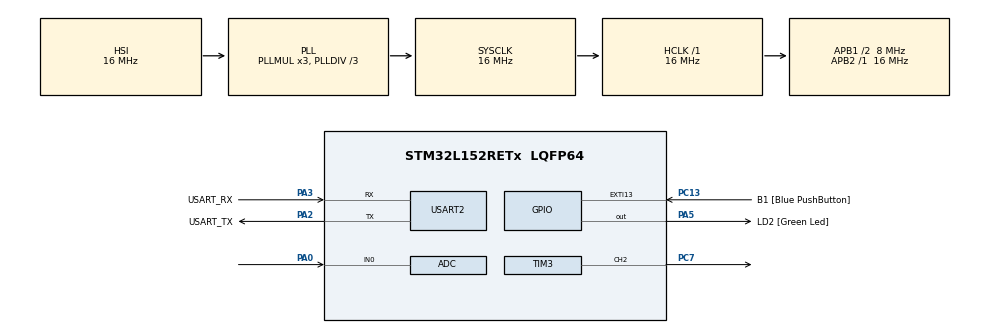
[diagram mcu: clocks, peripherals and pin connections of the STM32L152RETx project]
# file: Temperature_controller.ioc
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ADC.Channel-0\#ChannelRegularConversion=ADC_CHANNEL_0
ADC.InjNumberOfConversion=0
ADC.NbrOfConversionFlag=1
ADC.Rank-0\#ChannelRegularConversion=1
ADC.SamplingTime-0\#ChannelRegularConversion=ADC_SAMPLETIME_4CYCLES
Mcu.Family=STM32L1
Mcu.Name=STM32L152RETx
Mcu.Package=LQFP64
NVIC.PriorityGroup=NVIC_PRIORITYGROUP_0
NVIC.TIM2_IRQn=true\:0\:0\:false\:false\:true\:true\:true\:true
PA0-WKUP1.Mode=IN0
PA0-WKUP1.Signal=ADC_IN0
PA13.GPIO_Label=TMS
PA13.Mode=Serial_Wire
PA13.Signal=SYS_JTMS-SWDIO
PA14.GPIO_Label=TCK
PA14.Mode=Serial_Wire
PA14.Signal=SYS_JTCK-SWCLK
PA2.GPIO_Label=USART_TX
PA2.Mode=Asynchronous
PA2.Signal=USART2_TX
PA3.GPIO_Label=USART_RX
PA3.Mode=Asynchronous
PA3.Signal=USART2_RX
PA5.GPIO_Label=LD2 [Green Led]
PA5.Signal=GPIO_Output
PB3.GPIO_Label=SWO
PB3.Signal=SYS_JTDO-TRACESWO
PC13-WKUP2.GPIO_Label=B1 [Blue PushButton]
PC13-WKUP2.Signal=GPXTI13
PC14-OSC32_IN.Mode=LSE-External-Oscillator
PC14-OSC32_IN.Signal=RCC_OSC32_IN
PC15-OSC32_OUT.Mode=LSE-External-Oscillator
PC15-OSC32_OUT.Signal=RCC_OSC32_OUT
PC7.Signal=S_TIM3_CH2
PH0-OSC_IN.Mode=HSE-External-Clock-Source
PH0-OSC_IN.Signal=RCC_OSC_IN
PH1-OSC_OUT.Signal=RCC_OSC_OUT
ProjectManager.HeapSize=0x200
ProjectManager.StackSize=0x400
ProjectManager.TargetToolchain=STM32CubeIDE
RCC.48MHZClocksFreq_Value=24000000
RCC.AHBFreq_Value=16000000
RCC.APB1CLKDivider=RCC_HCLK_DIV2
RCC.APB1Freq_Value=8000000
RCC.APB1TimFreq_Value=16000000
RCC.APB2Freq_Value=16000000
RCC.APB2TimFreq_Value=16000000
RCC.HCLKFreq_Value=16000000
RCC.HSE_VALUE=8000000
RCC.HSI_VALUE=16000000
RCC.MSI_VALUE=2097000
RCC.PLLDIV=RCC_PLL_DIV3
RCC.RTCClockSelectionVirtual=RCC_RTCCLKSOURCE_LSE
RCC.SYSCLKFreq_VALUE=16000000
RCC.SYSCLKSource=RCC_SYSCLKSOURCE_PLLCLK
RCC.USBOutput=48000000
RCC.VCOOutputFreq_Value=48000000
SH.S_TIM3_CH2.0=TIM3_CH2,PWM Generation2 CH2
TIM2.AutoReloadPreload=TIM_AUTORELOAD_PRELOAD_ENABLE
TIM2.Channel-Output\ Compare1\ No\ Output=TIM_CHANNEL_1
TIM2.Period=10000-1
TIM2.Prescaler=1600-1
TIM3.AutoReloadPreload=TIM_AUTORELOAD_PRELOAD_ENABLE
TIM3.Channel-PWM\ Generation2\ CH2=TIM_CHANNEL_2
TIM3.Period=1000-1
TIM3.Prescaler=16-1
USART2.VirtualMode=VM_ASYNC
VP_TIM2_VS_ClockSourceINT.Mode=Internal
VP_TIM2_VS_no_output1.Mode=Output Compare1 No Output
VP_TIM3_VS_ClockSourceINT.Mode=Internal
board=NUCLEO-L152RE

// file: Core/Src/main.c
/* USER CODE BEGIN Header */
/**
 ******************************************************************************
 * @file           : main.c
 * @brief          : Main program body
 ******************************************************************************
 * @attention
 *
 * <h2><center>&copy; Copyright (c) 2024 STMicroelectronics.
 * All rights reserved.</center></h2>
 *
 * This software component is licensed by ST under BSD 3-Clause license,
 * the "License"; You may not use this file except in compliance with the
 * License. You may obtain a copy of the License at:
 *                        opensource.org/licenses/BSD-3-Clause
 *
 ******************************************************************************
 */
/* USER CODE END Header */
#include "main.h"

/* USER CODE BEGIN PD */
#define PLMAX 2048		// Proportional Limit Max
#define OLMAX 1000		// Output PWM Limit Max

#define DELAYTAPS 22

#define ADC_MIN 288      // Minimum ADC value allowed
#define ADC_MAX 3456     // Maximum ADC value allowed
#define DECIMATION 5     // Bit shift for dividing by 32 (2^5)
#define LOOKUP_SIZE 100  // Size of lookup table
/* USER CODE END PD */

/* USER CODE BEGIN PM */

//int32_t Tlook[3010] = { // 294815     ---2996
//		293237,293361,293485,293608,293731,	293853,	293975,	294096,	294217,	294338,	294458,	294577,	294697,
//		294815, 294933, 295051, 295169, 295285, 295402, 295518, 295634, 295749, 295864, 295978, 296092, 296206,
//		296319, 296431, 296544, 296656, 296767, 296879, 296990, 297100, 297210, 297320, 297429, 297538, 297647,
//		297755, 297863, 297971, 298078, 298185, 298291, 298398, 298503, 298609, 298714, 298819, 298923, 299028,
//		299132, 299235, 299338, 299441, 299544, 299646, 299748, 299850, 299951, 300052, 300153, 300253, 300354,
//		300454, 300553, 300652, 300751, 300850, 300949, 301047, 301145, 301242, 301340, 301437, 301533, 301630,
//		301726, 301822, 301918, 302013, 302109, 302204, 302298, 302393, 302487, 302581, 302674, 302768, 302861,
//		302954, 303047, 303139, 303231, 303323, 303415, 303507, 303598, 303689, 303780, 303870, 303961, 304051,
//		304141, 304230, 304320, 304409, 304498, 304587, 304675, 304764, 304852, 304940, 305027, 305115, 305202,
//		305289, 305376, 305463, 305549, 305636, 305722, 305808, 305893, 305979, 306064, 306149, 306234, 306319,
//		306403, 306488, 306572, 306656, 306739, 306823, 306906, 306990, 307073, 307155, 307238, 307321, 307403,
//		307485, 307567, 307649, 307730, 307812, 307893, 307974, 308055, 308136, 308216, 308296, 308377, 308457,
//		308537, 308616, 308696, 308775, 308854, 308934, 309012, 309091, 309170, 309248, 309327, 309405, 309483,
//		309560, 309638, 309716, 309793, 309870, 309947, 310024, 310101, 310177, 310254, 310330, 310406, 310482,
//		310558, 310634, 310710, 310785, 310860, 310935, 311010, 311085, 311160, 311235, 311309, 311384, 311458,
//		311532, 311606, 311679, 311753, 311827, 311900, 311973, 312046, 312119, 312192, 312265, 312338, 312410,
//		312483, 312555, 312627, 312699, 312771, 312842, 312914, 312986, 313057, 313128, 313199, 313270, 313341,
//		313412, 313483, 313553, 313624, 313694, 313764, 313834, 313904, 313974, 314044, 314113, 314183, 314252,
//		314321, 314390, 314459, 314528, 314597, 314666, 314734, 314803, 314871, 314940, 315008, 315076, 315144,
//		315212, 315279, 315347, 315415, 315482, 315549, 315616, 315684, 315751, 315818, 315884, 315951, 316018,
//		316084, 316151, 316217, 316283, 316349, 316415, 316481, 316547, 316613, 316678, 316744, 316809, 316875,
//		316940, 317005, 317070, 317135, 317200, 317265, 317329, 317394, 317458, 317523, 317587, 317651, 317715,
//		317779, 317843, 317907, 317971, 318035, 318098, 318162, 318225, 318289, 318352, 318415, 318478, 318541,
//		318604, 318667, 318729, 318792, 318855, 318917, 318980, 319042, 319104, 319166, 319228, 319290, 319352,
//		319414, 319476, 319537, 319599, 319661, 319722, 319783, 319845, 319906, 319967, 320028, 320089, 320150,
//		320211, 320271, 320332, 320393, 320453, 320513, 320574, 320634, 320694, 320754, 320814, 320874, 320934,
//		320994, 321054, 321114, 321173, 321233, 321292, 321351, 321411, 321470, 321529, 321588, 321647, 321706,
//		321765, 321824, 321883, 321941, 322000, 322059, 322117, 322176, 322234, 322292, 322350, 322409, 322467,
//		322525, 322583, 322640, 322698, 322756, 322814, 322871, 322929, 322986, 323044, 323101, 323158, 323216,
//		323273, 323330, 323387, 323444, 323501, 323558, 323614, 323671, 323728, 323784, 323841, 323897, 323954,
//		324010, 324066, 324123, 324179, 324235, 324291, 324347, 324403, 324459, 324515, 324570, 324626, 324682,
//		324737, 324793, 324848, 324904, 324959, 325014, 325070, 325125, 325180, 325235, 325290, 325345, 325400,
//		325455, 325509, 325564, 325619, 325673, 325728, 325783, 325837, 325891, 325946, 326000, 326054, 326108,
//		326163, 326217, 326271, 326325, 326379, 326432, 326486, 326540, 326594, 326647, 326701, 326755, 326808,
//		326862, 326915, 326968, 327022, 327075, 327128, 327181, 327234, 327287, 327340, 327393, 327446, 327499,
//		327552, 327605, 327657, 327710, 327763, 327815, 327868, 327920, 327973, 328025, 328077, 328130, 328182,
//		328234, 328286, 328338, 328390, 328442, 328494, 328546, 328598, 328650, 328702, 328753, 328805, 328857,
//		328908, 328960, 329011, 329063, 329114, 329165, 329217, 329268, 329319, 329370, 329422, 329473, 329524,
//		329575, 329626, 329677, 329727, 329778, 329829, 329880, 329931, 329981, 330032, 330082, 330133, 330183,
//		330234, 330284, 330335, 330385, 330435, 330486, 330536, 330586, 330636, 330686, 330736, 330786, 330836,
//		330886, 330936, 330986, 331036, 331085, 331135, 331185, 331235, 331284, 331334, 331383, 331433, 331482,
//		331532, 331581, 331630, 331680, 331729, 331778, 331827, 331876, 331926, 331975, 332024, 332073, 332122,
//		332171, 332219, 332268, 332317, 332366, 332415, 332463, 332512, 332561, 332609, 332658, 332706, 332755,
//		332803, 332852, 332900, 332948, 332997, 333045, 333093, 333141, 333190, 333238, 333286, 333334, 333382,
//		333430, 333478, 333526, 333574, 333622, 333669, 333717, 333765, 333813, 333860, 333908, 333956, 334003,
//		334051, 334098, 334146, 334193, 334241, 334288, 334335, 334383, 334430, 334477, 334525, 334572, 334619,
//		334666, 334713, 334760, 334807, 334854, 334901, 334948, 334995, 335042, 335089, 335136, 335182, 335229,
//		335276, 335323, 335369, 335416, 335463, 335509, 335556, 335602, 335649, 335695, 335742, 335788, 335834,
//		335881, 335927, 335973, 336019, 336066, 336112, 336158, 336204, 336250, 336296, 336342, 336388, 336434,
//		336480, 336526, 336572, 336618, 336664, 336710, 336755, 336801, 336847, 336893, 336938, 336984, 337030,
//		337075, 337121, 337166, 337212, 337257, 337303, 337348, 337394, 337439, 337484, 337530, 337575, 337620,
//		337665, 337711, 337756, 337801, 337846, 337891, 337936, 337981, 338026, 338071, 338116, 338161, 338206,
//		338251, 338296, 338341, 338386, 338430, 338475, 338520, 338565, 338609, 338654, 338699, 338743, 338788,
//		338832, 338877, 338921, 338966, 339010, 339055, 339099, 339144, 339188, 339232, 339277, 339321, 339365,
//		339410, 339454, 339498, 339542, 339586, 339630, 339675, 339719, 339763, 339807, 339851, 339895, 339939,
//		339983, 340027, 340070, 340114, 340158, 340202, 340246, 340290, 340333, 340377, 340421, 340464, 340508,
//		340552, 340595, 340639, 340683, 340726, 340770, 340813, 340857, 340900, 340944, 340987, 341030, 341074,
//		341117, 341161, 341204, 341247, 341290, 341334, 341377, 341420, 341463, 341506, 341550, 341593, 341636,
//		341679, 341722, 341765, 341808, 341851, 341894, 341937, 341980, 342023, 342066, 342109, 342152, 342194,
//		342237, 342280, 342323, 342366, 342408, 342451, 342494, 342536, 342579, 342622, 342664, 342707, 342749,
//		342792, 342835, 342877, 342920, 342962, 343005, 343047, 343089, 343132, 343174, 343217, 343259, 343301,
//		343344, 343386, 343428, 343470, 343513, 343555, 343597, 343639, 343681, 343724, 343766, 343808, 343850,
//		343892, 343934, 343976, 344018, 344060, 344102, 344144, 344186, 344228, 344270, 344312, 344354, 344395,
//		344437, 344479, 344521, 344563, 344604, 344646, 344688, 344730, 344771, 344813, 344855, 344896, 344938,
//		344980, 345021, 345063, 345104, 345146, 345187, 345229, 345270, 345312, 345353, 345395, 345436, 345478,
//		345519, 345560, 345602, 345643, 345685, 345726, 345767, 345808, 345850, 345891, 345932, 345973, 346015,
//		346056, 346097, 346138, 346179, 346220, 346262, 346303, 346344, 346385, 346426, 346467, 346508, 346549,
//		346590, 346631, 346672, 346713, 346754, 346795, 346836, 346876, 346917, 346958, 346999, 347040, 347081,
//		347121, 347162, 347203, 347244, 347284, 347325, 347366, 347407, 347447, 347488, 347529, 347569, 347610,
//		347650, 347691, 347732, 347772, 347813, 347853, 347894, 347934, 347975, 348015, 348056, 348096, 348137,
//		348177, 348217, 348258, 348298, 348339, 348379, 348419, 348460, 348500, 348540, 348580, 348621, 348661,
//		348701, 348742, 348782, 348822, 348862, 348902, 348943, 348983, 349023, 349063, 349103, 349143, 349183,
//		349223, 349263, 349303, 349344, 349384, 349424, 349464, 349504, 349544, 349584, 349623, 349663, 349703,
//		349743, 349783, 349823, 349863, 349903, 349943, 349983, 350022, 350062, 350102, 350142, 350182, 350221,
//		350261, 350301, 350341, 350380, 350420, 350460, 350499, 350539, 350579, 350618, 350658, 350698, 350737,
//		350777, 350817, 350856, 350896, 350935, 350975, 351014, 351054, 351093, 351133, 351172, 351212, 351251,
//		351291, 351330, 351370, 351409, 351449, 351488, 351527, 351567, 351606, 351646, 351685, 351724, 351764,
//		351803, 351842, 351882, 351921, 351960, 351999, 352039, 352078, 352117, 352156, 352196, 352235, 352274,
//		352313, 352352, 352392, 352431, 352470, 352509, 352548, 352587, 352626, 352666, 352705, 352744, 352783,
//		352822, 352861, 352900, 352939, 352978, 353017, 353056, 353095, 353134, 353173, 353212, 353251, 353290,
//		353329, 353368, 353407, 353446, 353484, 353523, 353562, 353601, 353640, 353679, 353718, 353756, 353795,
//		353834, 353873, 353912, 353951, 353989, 354028, 354067, 354106, 354144, 354183, 354222, 354261, 354299,
//		354338, 354377, 354415, 354454, 354493, 354531, 354570, 354609, 354647, 354686, 354725, 354763, 354802,
//		354840, 354879, 354918, 354956, 354995, 355033, 355072, 355110, 355149, 355187, 355226, 355264, 355303,
//		355341, 355380, 355418, 355457, 355495, 355534, 355572, 355611, 355649, 355687, 355726, 355764, 355803,
//		355841, 355879, 355918, 355956, 355995, 356033, 356071, 356110, 356148, 356186, 356225, 356263, 356301,
//		356339, 356378, 356416, 356454, 356493, 356531, 356569, 356607, 356646, 356684, 356722, 356760, 356798,
//		356837, 356875, 356913, 356951, 356989, 357028, 357066, 357104, 357142, 357180, 357218, 357256, 357295,
//		357333, 357371, 357409, 357447, 357485, 357523, 357561, 357599, 357637, 357675, 357714, 357752, 357790,
//		357828, 357866, 357904, 357942, 357980, 358018, 358056, 358094, 358132, 358170, 358208, 358246, 358284,
//		358322, 358359, 358397, 358435, 358473, 358511, 358549, 358587, 358625, 358663, 358701, 358739, 358777,
//		358814, 358852, 358890, 358928, 358966, 359004, 359042, 359079, 359117, 359155, 359193, 359231, 359269,
//		359306, 359344, 359382, 359420, 359458, 359495, 359533, 359571, 359609, 359646, 359684, 359722, 359760,
//		359797, 359835, 359873, 359911, 359948, 359986, 360024, 360062, 360099, 360137, 360175, 360212, 360250,
//		360288, 360325, 360363, 360401, 360438, 360476, 360514, 360551, 360589, 360627, 360664, 360702, 360740,
//		360777, 360815, 360852, 360890, 360928, 360965, 361003, 361040, 361078, 361116, 361153, 361191, 361228,
//		361266, 361303, 361341, 361379, 361416, 361454, 361491, 361529, 361566, 361604, 361641, 361679, 361716,
//		361754, 361791, 361829, 361866, 361904, 361941, 361979, 362016, 362054, 362091, 362129, 362166, 362204,
//		362241, 362279, 362316, 362354, 362391, 362429, 362466, 362504, 362541, 362578, 362616, 362653, 362691,
//		362728, 362766, 362803, 362840, 362878, 362915, 362953, 362990, 363027, 363065, 363102, 363140, 363177,
//		363214, 363252, 363289, 363327, 363364, 363401, 363439, 363476, 363513, 363551, 363588, 363625, 363663,
//		363700, 363737, 363775, 363812, 363850, 363887, 363924, 363962, 363999, 364036, 364074, 364111, 364148,
//		364185, 364223, 364260, 364297, 364335, 364372, 364409, 364447, 364484, 364521, 364559, 364596, 364633,
//		364670, 364708, 364745, 364782, 364820, 364857, 364894, 364931, 364969, 365006, 365043, 365080, 365118,
//		365155, 365192, 365229, 365267, 365304, 365341, 365378, 365416, 365453, 365490, 365527, 365565, 365602,
//		365639, 365676, 365714, 365751, 365788, 365825, 365863, 365900, 365937, 365974, 366011, 366049, 366086,
//		366123, 366160, 366198, 366235, 366272, 366309, 366346, 366384, 366421, 366458, 366495, 366532, 366570,
//		366607, 366644, 366681, 366718, 366756, 366793, 366830, 366867, 366904, 366942, 366979, 367016, 367053,
//		367090, 367128, 367165, 367202, 367239, 367276, 367314, 367351, 367388, 367425, 367462, 367499, 367537,
//		367574, 367611, 367648, 367685, 367723, 367760, 367797, 367834, 367871, 367908, 367946, 367983, 368020,
//		368057, 368094, 368132, 368169, 368206, 368243, 368280, 368317, 368355, 368392, 368429, 368466, 368503,
//		368540, 368578, 368615, 368652, 368689, 368726, 368763, 368801, 368838, 368875, 368912, 368949, 368987,
//		369024, 369061, 369098, 369135, 369172, 369210, 369247, 369284, 369321, 369358, 369395, 369433, 369470,
//		369507, 369544, 369581, 369618, 369656, 369693, 369730, 369767, 369804, 369842, 369879, 369916, 369953,
//		369990, 370027, 370065, 370102, 370139, 370176, 370213, 370251, 370288, 370325, 370362, 370399, 370437,
//		370474, 370511, 370548, 370585, 370623, 370660, 370697, 370734, 370771, 370809, 370846, 370883, 370920,
//		370957, 370995, 371032, 371069, 371106, 371143, 371181, 371218, 371255, 371292, 371330, 371367, 371404,
//		371441, 371478, 371516, 371553, 371590, 371627, 371665, 371702, 371739, 371776, 371814, 371851, 371888,
//		371925, 371963, 372000, 372037, 372074, 372112, 372149, 372186, 372223, 372261, 372298, 372335, 372372,
//		372410, 372447, 372484, 372521, 372559, 372596, 372633, 372671, 372708, 372745, 372782, 372820, 372857,
//		372894, 372932, 372969, 373006, 373043, 373081, 373118, 373155, 373193, 373230, 373267, 373305, 373342,
//		373379, 373417, 373454, 373491, 373529, 373566, 373603, 373641, 373678, 373715, 373753, 373790, 373827,
//		373865, 373902, 373939, 373977, 374014, 374052, 374089, 374126, 374164, 374201, 374238, 374276, 374313,
//		374351, 374388, 374425, 374463, 374500, 374538, 374575, 374612, 374650, 374687, 374725, 374762, 374800,
//		374837, 374874, 374912, 374949, 374987, 375024, 375062, 375099, 375136, 375174, 375211, 375249, 375286,
//		375324, 375361, 375399, 375436, 375474, 375511, 375549, 375586, 375624, 375661, 375699, 375736, 375774,
//		375811, 375849, 375886, 375924, 375961, 375999, 376036, 376074, 376112, 376149, 376187, 376224, 376262,
//		376299, 376337, 376374, 376412, 376450, 376487, 376525, 376562, 376600, 376638, 376675, 376713, 376750,
//		376788, 376826, 376863, 376901, 376939, 376976, 377014, 377051, 377089, 377127, 377164, 377202, 377240,
//		377277, 377315, 377353, 377390, 377428, 377466, 377504, 377541, 377579, 377617, 377654, 377692, 377730,
//		377768, 377805, 377843, 377881, 377918, 377956, 377994, 378032, 378070, 378107, 378145, 378183, 378221,
//		378258, 378296, 378334, 378372, 378410, 378447, 378485, 378523, 378561, 378599, 378637, 378674, 378712,
//		378750, 378788, 378826, 378864, 378902, 378940, 378977, 379015, 379053, 379091, 379129, 379167, 379205,
//		379243, 379281, 379319, 379357, 379394, 379432, 379470, 379508, 379546, 379584, 379622, 379660, 379698,
//		379736, 379774, 379812, 379850, 379888, 379926, 379964, 380002, 380040, 380078, 380116, 380155, 380193,
//		380231, 380269, 380307, 380345, 380383, 380421, 380459, 380497, 380535, 380574, 380612, 380650, 380688,
//		380726, 380764, 380802, 380841, 380879, 380917, 380955, 380993, 381031, 381070, 381108, 381146, 381184,
//		381222, 381261, 381299, 381337, 381375, 381414, 381452, 381490, 381529, 381567, 381605, 381643, 381682,
//		381720, 381758, 381797, 381835, 381873, 381912, 381950, 381988, 382027, 382065, 382103, 382142, 382180,
//		382219, 382257, 382295, 382334, 382372, 382411, 382449, 382488, 382526, 382565, 382603, 382641, 382680,
//		382718, 382757, 382795, 382834, 382872, 382911, 382950, 382988, 383027, 383065, 383104, 383142, 383181,
//		383219, 383258, 383297, 383335, 383374, 383412, 383451, 383490, 383528, 383567, 383606, 383644, 383683,
//		383722, 383760, 383799, 383838, 383876, 383915, 383954, 383993, 384031, 384070, 384109, 384148, 384186,
//		384225, 384264, 384303, 384342, 384380, 384419, 384458, 384497, 384536, 384575, 384614, 384652, 384691,
//		384730, 384769, 384808, 384847, 384886, 384925, 384964, 385003, 385042, 385080, 385119, 385158, 385197,
//		385236, 385275, 385314, 385353, 385392, 385432, 385471, 385510, 385549, 385588, 385627, 385666, 385705,
//		385744, 385783, 385822, 385862, 385901, 385940, 385979, 386018, 386057, 386096, 386136, 386175, 386214,
//		386253, 386293, 386332, 386371, 386410, 386450, 386489, 386528, 386567, 386607, 386646, 386685, 386725,
//		386764, 386803, 386843, 386882, 386922, 386961, 387000, 387040, 387079, 387119, 387158, 387197, 387237,
//		387276, 387316, 387355, 387395, 387434, 387474, 387513, 387553, 387592, 387632, 387672, 387711, 387751,
//		387790, 387830, 387870, 387909, 387949, 387988, 388028, 388068, 388107, 388147, 388187, 388226, 388266,
//		388306, 388346, 388385, 388425, 388465, 388505, 388544, 388584, 388624, 388664, 388704, 388744, 388783,
//		388823, 388863, 388903, 388943, 388983, 389023, 389063, 389103, 389142, 389182, 389222, 389262, 389302,
//		389342, 389382, 389422, 389462, 389502, 389542, 389583, 389623, 389663, 389703, 389743, 389783, 389823,
//		389863, 389903, 389944, 389984, 390024, 390064, 390104, 390145, 390185, 390225, 390265, 390306, 390346,
//		390386, 390426, 390467, 390507, 390547, 390588, 390628, 390668, 390709, 390749, 390790, 390830, 390870,
//		390911, 390951, 390992, 391032, 391073, 391113, 391154, 391194, 391235, 391275, 391316, 391356, 391397,
//		391438, 391478, 391519, 391559, 391600, 391641, 391681, 391722, 391763, 391804, 391844, 391885, 391926,
//		391966, 392007, 392048, 392089, 392130, 392170, 392211, 392252, 392293, 392334, 392375, 392416, 392456,
//		392497, 392538, 392579, 392620, 392661, 392702, 392743, 392784, 392825, 392866, 392907, 392948, 392989,
//		393030, 393071, 393113, 393154, 393195, 393236, 393277, 393318, 393359, 393401, 393442, 393483, 393524,
//		393566, 393607, 393648, 393689, 393731, 393772, 393813, 393855, 393896, 393938, 393979, 394020, 394062,
//		394103, 394145, 394186, 394228, 394269, 394311, 394352, 394394, 394435, 394477, 394518, 394560, 394601,
//		394643, 394685, 394726, 394768, 394810, 394851, 394893, 394935, 394976, 395018, 395060, 395102, 395143,
//		395185, 395227, 395269, 395311, 395353, 395394, 395436, 395478, 395520, 395562, 395604, 395646, 395688,
//		395730, 395772, 395814, 395856, 395898, 395940, 395982, 396024, 396066, 396109, 396151, 396193, 396235,
//		396277, 396319, 396362, 396404, 396446, 396488, 396531, 396573, 396615, 396658, 396700, 396742, 396785,
//		396827, 396869, 396912, 396954, 396997, 397039, 397082, 397124, 397167, 397209, 397252, 397294, 397337,
//		397379, 397422, 397465, 397507, 397550, 397593, 397635, 397678, 397721, 397763, 397806, 397849, 397892,
//		397935, 397977, 398020, 398063, 398106, 398149, 398192, 398235, 398278, 398321, 398364, 398407, 398450,
//		398493, 398536, 398579, 398622, 398665, 398708, 398751, 398794, 398837, 398880, 398924, 398967, 399010,
//		399053, 399097, 399140, 399183, 399226, 399270, 399313, 399356, 399400, 399443, 399487, 399530, 399574,
//		399617, 399660, 399704, 399748, 399791, 399835, 399878, 399922, 399965, 400009, 400053, 400096, 400140,
//		400184, 400227, 400271, 400315, 400359, 400402, 400446, 400490, 400534, 400578, 400622, 400666, 400710,
//		400753, 400797, 400841, 400885, 400929, 400973, 401017, 401062, 401106, 401150, 401194, 401238, 401282,
//		401326, 401371, 401415, 401459, 401503, 401548, 401592, 401636, 401680, 401725, 401769, 401814, 401858,
//		401902, 401947, 401991, 402036, 402080, 402125, 402169, 402214, 402259, 402303, 402348, 402392, 402437,
//		402482, 402527, 402571, 402616, 402661, 402706, 402750, 402795, 402840, 402885, 402930, 402975, 403020,
//		403065, 403110, 403155, 403200, 403245, 403290, 403335, 403380, 403425, 403470, 403515, 403560, 403606,
//		403651, 403696, 403741, 403787, 403832, 403877, 403923, 403968, 404013, 404059, 404104, 404150, 404195,
//		404241, 404286, 404332, 404377, 404423, 404468, 404514, 404560, 404605, 404651, 404697, 404742, 404788,
//		404834, 404880, 404926, 404971, 405017, 405063, 405109, 405155, 405201, 405247, 405293, 405339, 405385,
//		405431, 405477, 405523, 405569, 405616, 405662, 405708, 405754, 405800, 405847, 405893, 405939, 405986,
//		406032, 406078, 406125, 406171, 406218, 406264, 406311, 406357, 406404, 406450, 406497, 406543, 406590,
//		406637, 406683, 406730, 406777, 406824, 406870, 406917, 406964, 407011, 407058, 407105, 407152, 407199,
//		407246, 407293, 407340, 407387, 407434, 407481, 407528, 407575, 407622, 407669, 407717, 407764, 407811,
//		407858, 407906, 407953, 408000, 408048, 408095, 408143, 408190, 408238, 408285, 408333, 408380, 408428,
//		408475, 408523, 408571, 408618, 408666, 408714, 408762, 408809, 408857, 408905, 408953, 409001, 409049,
//		409097, 409145, 409193, 409241, 409289, 409337, 409385, 409433, 409481, 409530, 409578, 409626, 409674,
//		409723, 409771, 409819, 409868, 409916, 409964, 410013, 410061, 410110, 410158, 410207, 410256, 410304,
//		410353, 410401, 410450, 410499, 410548, 410596, 410645, 410694, 410743, 410792, 410841, 410890, 410939,
//		410988, 411037, 411086, 411135, 411184, 411233, 411282, 411331, 411381, 411430, 411479, 411528, 411578,
//		411627, 411677, 411726, 411775, 411825, 411874, 411924, 411974, 412023, 412073, 412122, 412172, 412222,
//		412272, 412321, 412371, 412421, 412471, 412521, 412571, 412621, 412671, 412721, 412771, 412821, 412871,
//		412921, 412971, 413021, 413072, 413122, 413172, 413222, 413273, 413323, 413374, 413424, 413474, 413525,
//		413575, 413626, 413677, 413727, 413778, 413829, 413879, 413930, 413981, 414032, 414082, 414133, 414184,
//		414235, 414286, 414337, 414388, 414439, 414490, 414541, 414593, 414644, 414695, 414746, 414797, 414849,
//		414900, 414951, 415003, 415054, 415106, 415157, 415209, 415260, 415312, 415364, 415415, 415467, 415519,
//		415571, 415622, 415674, 415726, 415778, 415830, 415882, 415934, 415986, 416038, 416090, 416142, 416195,
//		416247, 416299, 416351, 416404, 416456, 416508, 416561, 416613, 416666, 416718, 416771, 416823, 416876,
//		416929, 416981, 417034, 417087, 417140, 417192, 417245, 417298, 417351, 417404, 417457, 417510, 417563,
//		417616, 417670, 417723, 417776, 417829, 417882, 417936, 417989, 418043, 418096, 418150, 418203, 418257,
//		418310, 418364, 418417, 418471, 418525, 418579, 418633, 418686, 418740, 418794, 418848, 418902, 418956,
//		419010, 419064, 419119, 419173, 419227, 419281, 419335, 419390, 419444, 419499, 419553, 419608, 419662,
//		419717, 419771, 419826, 419881, 419935, 419990, 420045, 420100, 420155, 420210, 420265, 420320, 420375,
//		420430, 420485, 420540, 420595, 420650, 420706, 420761, 420816, 420872, 420927, 420983, 421038, 421094,
//		421149, 421205, 421261, 421316, 421372, 421428, 421484, 421540, 421596, 421652, 421708, 421764, 421820,
//		421876, 421932, 421988, 422045, 422101, 422157, 422214, 422270, 422327, 422383, 422440, 422496, 422553,
//		422610, 422666, 422723, 422780, 422837, 422894, 422951, 423008, 423065, 423122, 423179, 423236, 423293,
//		423351, 423408, 423465, 423523, 423580, 423638, 423695, 423753, 423810, 423868, 423926, 423983, 424041,
//		424099, 424157, 424215, 424273, 424331, 424389, 424447, 424505, 424563, 424622, 424680, 424738, 424797,
//		424855, 424914, 424972, 425031, 425089, 425148, 425207, 425265, 425324, 425383, 425442, 425501, 425560,
//		425619, 425678, 425737, 425797, 425856, 425915, 425974, 426034, 426093, 426153, 426212, 426272, 426332,
//		426391, 426451, 426511, 426571, 426630, 426690, 426750, 426810, 426870, 426931, 426991, 427051, 427111,
//		427172, 427232, 427292, 427353, 427413, 427474, 427535, 427595, 427656, 427717, 427778, 427839, 427900,
//		427961, 428022, 428083, 428144, 428205, 428266, 428328, 428389, 428451, 428512, 428574, 428635, 428697,
//		428758, 428820, 428882, 428944, 429006, 429068, 429130, 429192, 429254, 429316, 429378, 429441, 429503,
//		429565, 429628, 429690, 429753, 429816, 429878, 429941, 430004, 430067, 430129, 430192, 430255, 430318,
//		430382, 430445, 430508, 430571, 430635, 430698, 430762, 430825, 430889, 430952, 431016, 431080, 431144,
//		431207, 431271, 431335, 431399, 431464, 431528, 431592, 431656, 431721, 431785, 431849, 431914, 431979,
//		432043, 432108, 432173, 432237, 432302, 432367, 432432, 432497, 432563, 432628, 432693, 432758, 432824,
//		432889, 432955, 433020, 433086, 433152, 433217, 433283, 433349, 433415, 433481, 433547, 433613, 433679,
//		433746, 433812, 433878, 433945, 434011, 434078, 434145, 434211, 434278, 434345, 434412, 434479, 434546,
//		434613, 434680, 434747, 434815, 434882, 434949, 435017, 435084, 435152, 435220, 435288, 435355, 435423,
//		435491, 435559, 435627, 435696, 435764, 435832, 435901, 435969, 436038, 436106, 436175, 436244, 436312,
//		436381, 436450, 436519, 436588, 436657, 436727, 436796, 436865, 436935, 437004, 437074, 437144, 437213,
//		437283, 437353, 437423, 437493, 437563, 437633, 437703, 437774, 437844, 437915, 437985, 438056, 438126,
//		438197, 438268, 438339, 438410, 438481, 438552, 438623, 438695, 438766, 438837, 438909, 438981, 439052,
//		439124, 439196, 439268, 439340, 439412, 439484, 439556, 439628, 439701, 439773, 439846, 439918, 439991,
//		440064, 440137, 440210, 440283, 440356, 440429, 440502, 440575, 440649, 440722, 440796, 440870, 440943,
//		441017, 441091, 441165, 441239, 441313, 441387, 441462, 441536, 441611, 441685, 441760, 441835, 441909,
//		441984, 442059, 442134, 442210, 442285, 442360, 442436 };

/* USER CODE END PM */

ADC_HandleTypeDef hadc;

TIM_HandleTypeDef htim2;
TIM_HandleTypeDef htim3;

UART_HandleTypeDef huart2;

/* USER CODE BEGIN PV */

/**** PI controller ****/

int32_t setpoint = 330752;	// 50 °C

const int32_t Kp = 90, Ki = 0, Sample_time = 1;	// PI parameters

int32_t Read_temp, PI_error, PI_output, integral, proportional, PI_prev_error = 0, limMaxInt = 0, limMinInt = 0;
uint32_t ADC_value;

/*************************/

/**** Smith Predictor ****/

const int32_t au = 65536, ad = 65477, bu = 209, bd = 209;	// Model equivalent Filter coefficients

int32_t in_model_prev = 0, out_model_prev = 0, in_model = 0, out_model = 0, output2;
 int32_t  out_delayed;
int32_t delay_vect[DELAYTAPS] = {0};
uint32_t index1=0, index2=1;
int32_t feedback_pred =0;

/*************************/

int32_t Tlook[LOOKUP_SIZE] = {	// start 512; step 32; stop 3712
	293603, 296365, 298924, 301313, 303559, 305683, 307701, 309627, 311471, 313243,
	314951, 316601, 318200, 319752, 321261, 322732, 324167, 325570, 326944, 328291,
	329612, 330911, 332189, 333448, 334689, 335913 ,337122, 338317, 339500, 340671,
	341831, 342982, 344123, 345257, 346383, 347503 ,348617, 349726, 350831, 351932,
	353030, 354125, 355219, 356312, 357403 ,358495 ,359587, 360681, 361775 ,362872,
	363972, 365075, 366182, 367293, 368409, 369531 ,370659, 371793, 372935, 374085,
	375244, 376412, 377591, 378780, 379980, 381193, 382419, 383659, 384914, 386185,
	387473, 388778, 390103, 391448, 392815, 394204 ,395618, 397057, 398524, 400020,
	401547, 403107, 404703, 406336, 408009, 409726, 411489 ,413301, 415167, 417090,
	419076, 421129, 423254, 425459, 427751, 430136, 432626, 435230, 437961, 440832};

/* USER CODE END PV */

void SystemClock_Config(void);
static void MX_GPIO_Init(void);
static void MX_USART2_UART_Init(void);
static void MX_ADC_Init(void);
static void MX_TIM2_Init(void);
static void MX_TIM3_Init(void);

int main(void)
{

  /* MCU Configuration--------------------------------------------------------*/

  /* Reset of all peripherals, Initializes the Flash interface and the Systick. */
  HAL_Init();

  /* Configure the system clock */
  SystemClock_Config();

  /* Initialize all configured peripherals */
  MX_GPIO_Init();
  MX_USART2_UART_Init();
  MX_ADC_Init();
  MX_TIM2_Init();
  MX_TIM3_Init();
  /* USER CODE BEGIN 2 */

	if (HAL_TIM_Base_Start_IT(&htim2) != HAL_OK)
	{
		/* Starting Error */
		Error_Handler();
	}

	HAL_TIM_PWM_Start(&htim3, TIM_CHANNEL_2);

  /* USER CODE END 2 */

  /* Infinite loop */
  /* USER CODE BEGIN WHILE */
	while (1)
	{
		HAL_ADC_Start(&hadc);
		HAL_ADC_PollForConversion(&hadc, 1000);

		ADC_value = HAL_ADC_GetValue(&hadc);

		//if(ADC_value <  195)
		//	ADC_value = 195;

		//if(ADC_value > 3204)
			//ADC_value = 3204;

		if(ADC_value <  ADC_MIN) {
			ADC_value = ADC_MIN;
		}
		else if(ADC_value > ADC_MAX) {
			ADC_value = ADC_MAX;
		}

		//Read_temp = Tlook[ADC_value - 195];  //209

		// Interpolating...

		int16_t adc_index = (ADC_value >> DECIMATION) - (ADC_MIN >> DECIMATION);

		int32_t delta_T = Tlook[adc_index + 1] - Tlook[adc_index];

	    int16_t delta_ADC = ADC_value - ((adc_index + (ADC_MIN >> DECIMATION)) << DECIMATION);

	    Read_temp = ((delta_T * delta_ADC) + (Tlook[adc_index] << DECIMATION)) >> DECIMATION;

		uint8_t rx_buff[4] = {};

		if(HAL_UART_Receive(&huart2, rx_buff, 4, 1000) == HAL_OK) //if transfer is successful
		{

			setpoint = (rx_buff[3] << 24) + (rx_buff[2] << 16) + (rx_buff[1] << 8) + rx_buff[0];

		}
		else {

		}
    /* USER CODE END WHILE */

	}
}

void SystemClock_Config(void)
{
  RCC_OscInitTypeDef RCC_OscInitStruct = {0};
  RCC_ClkInitTypeDef RCC_ClkInitStruct = {0};

  /** Configure the main internal regulator output voltage
  */
  __HAL_PWR_VOLTAGESCALING_CONFIG(PWR_REGULATOR_VOLTAGE_SCALE1);

  /** Initializes the RCC Oscillators according to the specified parameters
  * in the RCC_OscInitTypeDef structure.
  */
  RCC_OscInitStruct.OscillatorType = RCC_OSCILLATORTYPE_HSI;
  RCC_OscInitStruct.HSIState = RCC_HSI_ON;
  RCC_OscInitStruct.HSICalibrationValue = RCC_HSICALIBRATION_DEFAULT;
  RCC_OscInitStruct.PLL.PLLState = RCC_PLL_ON;
  RCC_OscInitStruct.PLL.PLLSource = RCC_PLLSOURCE_HSI;
  RCC_OscInitStruct.PLL.PLLMUL = RCC_PLL_MUL3;
  RCC_OscInitStruct.PLL.PLLDIV = RCC_PLL_DIV3;
  if (HAL_RCC_OscConfig(&RCC_OscInitStruct) != HAL_OK)
  {
    Error_Handler();
  }

  /** Initializes the CPU, AHB and APB buses clocks
  */
  RCC_ClkInitStruct.ClockType = RCC_CLOCKTYPE_HCLK|RCC_CLOCKTYPE_SYSCLK
                              |RCC_CLOCKTYPE_PCLK1|RCC_CLOCKTYPE_PCLK2;
  RCC_ClkInitStruct.SYSCLKSource = RCC_SYSCLKSOURCE_PLLCLK;
  RCC_ClkInitStruct.AHBCLKDivider = RCC_SYSCLK_DIV1;
  RCC_ClkInitStruct.APB1CLKDivider = RCC_HCLK_DIV2;
  RCC_ClkInitStruct.APB2CLKDivider = RCC_HCLK_DIV1;

  if (HAL_RCC_ClockConfig(&RCC_ClkInitStruct, FLASH_LATENCY_0) != HAL_OK)
  {
    Error_Handler();
  }
}

static void MX_ADC_Init(void)
{

  ADC_ChannelConfTypeDef sConfig = {0};

  /** Configure the global features of the ADC (Clock, Resolution, Data Alignment and number of conversion)
  */
  hadc.Instance = ADC1;
  hadc.Init.ClockPrescaler = ADC_CLOCK_ASYNC_DIV1;
  hadc.Init.Resolution = ADC_RESOLUTION_12B;
  hadc.Init.DataAlign = ADC_DATAALIGN_RIGHT;
  hadc.Init.ScanConvMode = ADC_SCAN_DISABLE;
  hadc.Init.EOCSelection = ADC_EOC_SEQ_CONV;
  hadc.Init.LowPowerAutoWait = ADC_AUTOWAIT_DISABLE;
  hadc.Init.LowPowerAutoPowerOff = ADC_AUTOPOWEROFF_DISABLE;
  hadc.Init.ChannelsBank = ADC_CHANNELS_BANK_A;
  hadc.Init.ContinuousConvMode = DISABLE;
  hadc.Init.NbrOfConversion = 1;
  hadc.Init.DiscontinuousConvMode = DISABLE;
  hadc.Init.ExternalTrigConv = ADC_SOFTWARE_START;
  hadc.Init.ExternalTrigConvEdge = ADC_EXTERNALTRIGCONVEDGE_NONE;
  hadc.Init.DMAContinuousRequests = DISABLE;
  if (HAL_ADC_Init(&hadc) != HAL_OK)
  {
    Error_Handler();
  }

  /** Configure for the selected ADC regular channel its corresponding rank in the sequencer and its sample time.
  */
  sConfig.Channel = ADC_CHANNEL_0;
  sConfig.Rank = ADC_REGULAR_RANK_1;
  sConfig.SamplingTime = ADC_SAMPLETIME_4CYCLES;
  if (HAL_ADC_ConfigChannel(&hadc, &sConfig) != HAL_OK)
  {
    Error_Handler();
  }

}

static void MX_TIM2_Init(void)
{

  TIM_ClockConfigTypeDef sClockSourceConfig = {0};
  TIM_MasterConfigTypeDef sMasterConfig = {0};
  TIM_OC_InitTypeDef sConfigOC = {0};

  htim2.Instance = TIM2;
  htim2.Init.Prescaler = 1600-1;
  htim2.Init.CounterMode = TIM_COUNTERMODE_UP;
  htim2.Init.Period = 10000-1;
  htim2.Init.ClockDivision = TIM_CLOCKDIVISION_DIV1;
  htim2.Init.AutoReloadPreload = TIM_AUTORELOAD_PRELOAD_ENABLE;
  if (HAL_TIM_Base_Init(&htim2) != HAL_OK)
  {
    Error_Handler();
  }
  sClockSourceConfig.ClockSource = TIM_CLOCKSOURCE_INTERNAL;
  if (HAL_TIM_ConfigClockSource(&htim2, &sClockSourceConfig) != HAL_OK)
  {
    Error_Handler();
  }
  if (HAL_TIM_OC_Init(&htim2) != HAL_OK)
  {
    Error_Handler();
  }
  sMasterConfig.MasterOutputTrigger = TIM_TRGO_RESET;
  sMasterConfig.MasterSlaveMode = TIM_MASTERSLAVEMODE_DISABLE;
  if (HAL_TIMEx_MasterConfigSynchronization(&htim2, &sMasterConfig) != HAL_OK)
  {
    Error_Handler();
  }
  sConfigOC.OCMode = TIM_OCMODE_TIMING;
  sConfigOC.Pulse = 0;
  sConfigOC.OCPolarity = TIM_OCPOLARITY_HIGH;
  sConfigOC.OCFastMode = TIM_OCFAST_DISABLE;
  if (HAL_TIM_OC_ConfigChannel(&htim2, &sConfigOC, TIM_CHANNEL_1) != HAL_OK)
  {
    Error_Handler();
  }

}

static void MX_TIM3_Init(void)
{

  TIM_ClockConfigTypeDef sClockSourceConfig = {0};
  TIM_MasterConfigTypeDef sMasterConfig = {0};
  TIM_OC_InitTypeDef sConfigOC = {0};

  htim3.Instance = TIM3;
  htim3.Init.Prescaler = 16-1;
  htim3.Init.CounterMode = TIM_COUNTERMODE_UP;
  htim3.Init.Period = 1000-1;
  htim3.Init.ClockDivision = TIM_CLOCKDIVISION_DIV1;
  htim3.Init.AutoReloadPreload = TIM_AUTORELOAD_PRELOAD_ENABLE;
  if (HAL_TIM_Base_Init(&htim3) != HAL_OK)
  {
    Error_Handler();
  }
  sClockSourceConfig.ClockSource = TIM_CLOCKSOURCE_INTERNAL;
  if (HAL_TIM_ConfigClockSource(&htim3, &sClockSourceConfig) != HAL_OK)
  {
    Error_Handler();
  }
  if (HAL_TIM_PWM_Init(&htim3) != HAL_OK)
  {
    Error_Handler();
  }
  sMasterConfig.MasterOutputTrigger = TIM_TRGO_RESET;
  sMasterConfig.MasterSlaveMode = TIM_MASTERSLAVEMODE_DISABLE;
  if (HAL_TIMEx_MasterConfigSynchronization(&htim3, &sMasterConfig) != HAL_OK)
  {
    Error_Handler();
  }
  sConfigOC.OCMode = TIM_OCMODE_PWM1;
  sConfigOC.Pulse = 0;
  sConfigOC.OCPolarity = TIM_OCPOLARITY_HIGH;
  sConfigOC.OCFastMode = TIM_OCFAST_DISABLE;
  if (HAL_TIM_PWM_ConfigChannel(&htim3, &sConfigOC, TIM_CHANNEL_2) != HAL_OK)
  {
    Error_Handler();
  }
  HAL_TIM_MspPostInit(&htim3);

}

static void MX_USART2_UART_Init(void)
{

  huart2.Instance = USART2;
  huart2.Init.BaudRate = 115200;
  huart2.Init.WordLength = UART_WORDLENGTH_8B;
  huart2.Init.StopBits = UART_STOPBITS_1;
  huart2.Init.Parity = UART_PARITY_NONE;
  huart2.Init.Mode = UART_MODE_TX_RX;
  huart2.Init.HwFlowCtl = UART_HWCONTROL_NONE;
  huart2.Init.OverSampling = UART_OVERSAMPLING_16;
  if (HAL_UART_Init(&huart2) != HAL_OK)
  {
    Error_Handler();
  }

}

static void MX_GPIO_Init(void)
{
  GPIO_InitTypeDef GPIO_InitStruct = {0};

  /* GPIO Ports Clock Enable */
  __HAL_RCC_GPIOC_CLK_ENABLE();
  __HAL_RCC_GPIOH_CLK_ENABLE();
  __HAL_RCC_GPIOA_CLK_ENABLE();
  __HAL_RCC_GPIOB_CLK_ENABLE();

  /*Configure GPIO pin Output Level */
  HAL_GPIO_WritePin(LD2_GPIO_Port, LD2_Pin, GPIO_PIN_RESET);

  /*Configure GPIO pin : B1_Pin */
  GPIO_InitStruct.Pin = B1_Pin;
  GPIO_InitStruct.Mode = GPIO_MODE_IT_RISING;
  GPIO_InitStruct.Pull = GPIO_NOPULL;
  HAL_GPIO_Init(B1_GPIO_Port, &GPIO_InitStruct);

  /*Configure GPIO pin : LD2_Pin */
  GPIO_InitStruct.Pin = LD2_Pin;
  GPIO_InitStruct.Mode = GPIO_MODE_OUTPUT_PP;
  GPIO_InitStruct.Pull = GPIO_NOPULL;
  GPIO_InitStruct.Speed = GPIO_SPEED_FREQ_LOW;
  HAL_GPIO_Init(LD2_GPIO_Port, &GPIO_InitStruct);

}

/* USER CODE BEGIN 4 */

void HAL_TIM_PeriodElapsedCallback (TIM_HandleTypeDef *htim)
{
	if(htim == &htim2) {

		/* PI Controller */

		//error = setpoint - feedback_pred;
		PI_error = setpoint - Read_temp;

		proportional = Kp * PI_error;

		// Dynamic Anti-wind-up limits calculation
		if (PLMAX > proportional && proportional >= 0) {
			limMaxInt = PLMAX - proportional;
		}
		else {
			limMaxInt = 0;
		}

		integral = integral + Ki * Sample_time * (PI_prev_error + PI_error);
		PI_prev_error = PI_error;

		// Anti-wind-up integrator limits clamping
		if (integral > limMaxInt) {
			integral = limMaxInt;
		}
		else if (integral < limMinInt) {
			integral = limMinInt;
		}

		// output to PWM value conditioning
		PI_output = ((integral + proportional) >> 10) * 50;

		if (PI_output > OLMAX) {
			PI_output = 1000;
		}
		else if (PI_output < 0) {
			PI_output = 0;
		}
		/* End PI Controller */

		TIM3->CCR2 = PI_output;

		/* Data Logger Serial transmission */

		uint8_t tx_buff[4] = {(ADC_value >> 24) & 0x000000FF, (ADC_value >> 16) & 0x000000FF, (ADC_value >> 8) & 0x000000FF, ADC_value & 0x000000FF};
		//uint8_t tx_buff[4] = {(Read_temp >> 24) & 0x000000FF, (Read_temp >> 16) & 0x000000FF, (Read_temp >> 8) & 0x000000FF, Read_temp & 0x000000FF};
		HAL_UART_Transmit(&huart2, tx_buff, 4, 1000);

		/* End Data Logger Serial transmission */

		// Output diventa 2^10
		output2 = PI_output * 20;

		// 2^20 -> 2^10
		in_model = (((output2 * output2) >> 10) * 82) >> 10;

		//L'uscita è 2^10
		out_model =  (out_model_prev * ad + bu * in_model + bd * in_model_prev) >> 16;

		in_model_prev = in_model;
		out_model_prev = out_model;

		// Prendo primo blocco
		out_delayed = delay_vect[index1];

		delay_vect[index1] = out_model;

		index1++;

		if (index1 > 21)
			index1 = 0;

		 feedback_pred = Read_temp - out_delayed + out_model;

	}
}

/* USER CODE END 4 */

void Error_Handler(void)
{
	__disable_irq();
	while (1)
	{
	}
}
